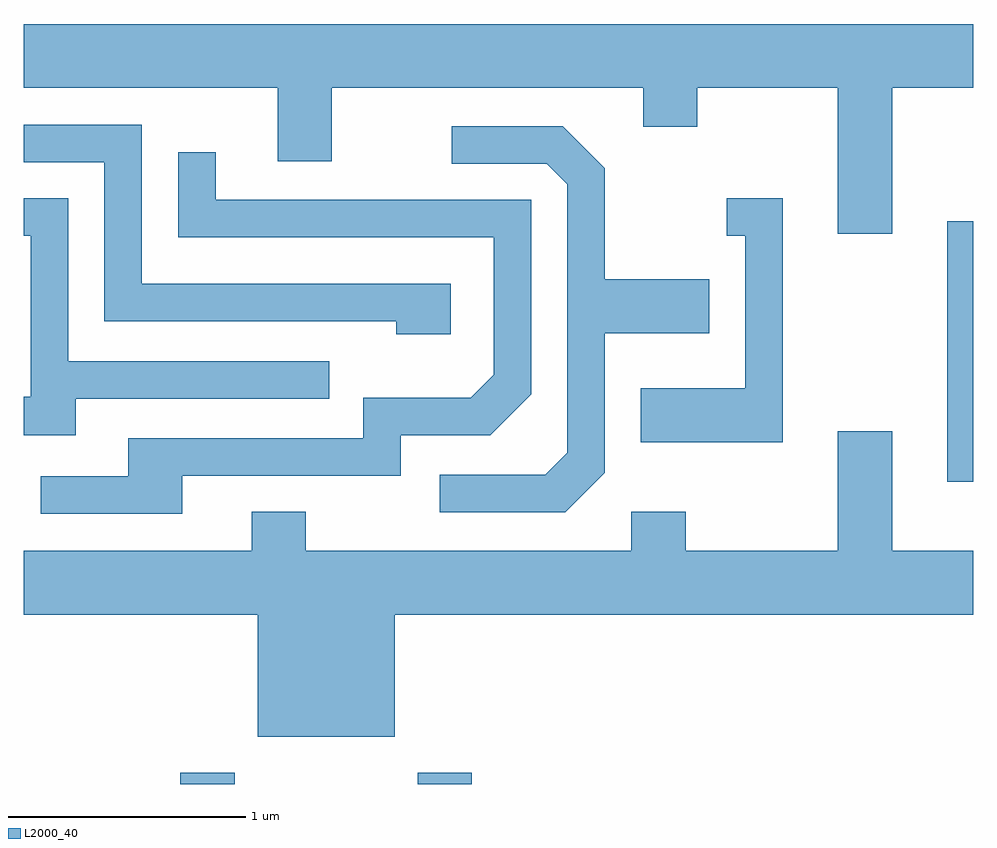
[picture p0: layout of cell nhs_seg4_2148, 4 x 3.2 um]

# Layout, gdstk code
import gdstk
lib = gdstk.Library(unit=1e-6, precision=1e-09)
def R(c, l, rs):  # rectangles x0, y0, x1, y1
    for r in rs: c.add(gdstk.rectangle(r[:2], r[2:], *l))
def P(c, l, *ps):  # polygons
    for p in ps: c.add(gdstk.Polygon(p, *l))
L2000_40 = (2000, 40)

nhs_seg4_2148 = lib.new_cell('nhs_seg4_2148')
R(nhs_seg4_2148, L2000_40, [(248.271,1333.982,248.499,1334.029), (249.271,1333.982,249.499,1334.029), (251.501,1335.256,251.611,1336.354)])
P(nhs_seg4_2148, L2000_40, [(251.269,1336.916),(251.611,1336.916),(251.611,1337.184),(247.611,1337.184),(247.611,1336.916),(248.681,1336.916),(248.681,1336.606),(248.909,1336.606),(248.909,1336.916),(250.221,1336.916),(250.221,1336.751),(250.449,1336.751),(250.449,1336.916),(251.041,1336.916),(251.041,1336.301),(251.269,1336.301)],
  [(249.409,1336.089),(248.109,1336.089),(248.109,1336.759),(247.611,1336.759),(247.611,1336.601),(247.951,1336.601),(247.951,1335.931),(249.181,1335.931),(249.181,1335.876),(249.409,1335.876)],
  [(250.059,1335.294),(250.059,1335.881),(250.499,1335.881),(250.499,1336.109),(250.059,1336.109),(250.059,1336.577),(249.882,1336.754),(249.413,1336.754),(249.413,1336.596),(249.814,1336.596),(249.901,1336.509),(249.901,1335.377),(249.809,1335.284),(249.363,1335.284),(249.363,1335.126),(249.892,1335.126)],
  [(248.279,1335.281),(249.199,1335.281),(249.199,1335.451),(249.577,1335.451),(249.749,1335.624),(249.749,1336.444),(248.419,1336.444),(248.419,1336.643),(248.261,1336.643),(248.261,1336.286),(249.591,1336.286),(249.591,1335.707),(249.494,1335.609),(249.041,1335.609),(249.041,1335.439),(248.051,1335.439),(248.051,1335.279),(247.683,1335.279),(247.683,1335.121),(248.279,1335.121)],
  [(250.809,1336.449),(250.573,1336.449),(250.573,1336.291),(250.651,1336.291),(250.651,1335.649),(250.211,1335.649),(250.211,1335.421),(250.809,1335.421)],
  [(247.829,1335.606),(248.898,1335.606),(248.898,1335.764),(247.799,1335.764),(247.799,1336.449),(247.611,1336.449),(247.611,1336.291),(247.641,1336.291),(247.641,1335.614),(247.611,1335.614),(247.611,1335.451),(247.829,1335.451)],
  [(249.174,1334.696),(251.611,1334.696),(251.611,1334.964),(251.269,1334.964),(251.269,1335.469),(251.041,1335.469),(251.041,1334.964),(250.399,1334.964),(250.399,1335.129),(250.171,1335.129),(250.171,1334.964),(248.799,1334.964),(248.799,1335.129),(248.571,1335.129),(248.571,1334.964),(247.611,1334.964),(247.611,1334.696),(248.596,1334.696),(248.596,1334.181),(249.174,1334.181)])

lib.write_gds('nhs_seg4_2148.gds')
